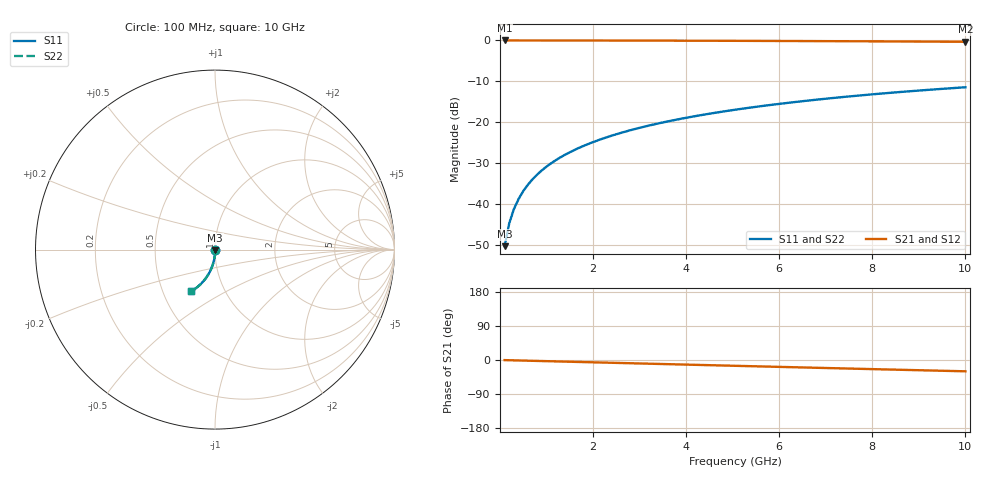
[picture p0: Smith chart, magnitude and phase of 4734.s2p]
# Hz S RI R 50.00
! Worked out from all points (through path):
!   100 points, 100 MHz to 10 GHz, reference 50 ohm
!   highest |S21| = -0.01 dB at 100 MHz (marker M1); lowest = -0.3 dB at 10 GHz (marker M2)
!   group delay of S21, straight-line fit = 8.3 ps
!   lowest |S11| = -50.3 dB at 100 MHz (marker M3), VSWR 1.01, Z = 50.1 - j0.287 ohm
!   |S11| at or under -10 dB: start of sweep to end of sweep
!   |S22| runs from -50.3 to -11.5 dB; largest |S21 - S12| = 0
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1e8  0.00102 -0.00286  0.9989 -0.00532  0.9989 -0.00532  0.00102 -0.00286
2e8  0.000978 -0.00572  0.9989 -0.0106  0.9989 -0.0106  0.000978 -0.00572
3e8  0.000903 -0.00859  0.9988 -0.0159  0.9988 -0.0159  0.000903 -0.00859
4e8  0.000797 -0.0114  0.9986 -0.0213  0.9986 -0.0213  0.000797 -0.0114
5e8  0.00066 -0.0143  0.9985 -0.0266  0.9985 -0.0266  0.00066 -0.0143
6e8  0.000492 -0.0172  0.9983 -0.0319  0.9983 -0.0319  0.000492 -0.0172
7e8  0.000294 -0.02  0.998 -0.0372  0.998 -0.0372  0.000294 -0.02
8e8  6.44e-05 -0.0229  0.9977 -0.0425  0.9977 -0.0425  6.44e-05 -0.0229
9e8  -0.000195 -0.0257  0.9974 -0.0478  0.9974 -0.0478  -0.000195 -0.0257
1.1e9  -0.000805 -0.0314  0.9967 -0.0584  0.9967 -0.0584  -0.000805 -0.0314
1.4e9  -0.00195 -0.0399  0.9953 -0.0743  0.9953 -0.0743  -0.00195 -0.0399
1.8e9  -0.00389 -0.0512  0.9929 -0.0954  0.9929 -0.0954  -0.00389 -0.0512
2.1e9  -0.00566 -0.0596  0.9908 -0.1111  0.9908 -0.1111  -0.00566 -0.0596
2.5e9  -0.00843 -0.0706  0.9875 -0.132  0.9875 -0.132  -0.00843 -0.0706
2.9e9  -0.0117 -0.0816  0.9836 -0.1528  0.9836 -0.1528  -0.0117 -0.0816
3.4e9  -0.0163 -0.095  0.9779 -0.1785  0.9779 -0.1785  -0.0163 -0.095
4.2e9  -0.0252 -0.1159  0.9671 -0.219  0.9671 -0.219  -0.0252 -0.1159
5.1e9  -0.0373 -0.1382  0.9525 -0.2636  0.9525 -0.2636  -0.0373 -0.1382
5.9e9  -0.0496 -0.157  0.9375 -0.302  0.9375 -0.302  -0.0496 -0.157
6.7e9  -0.0634 -0.1746  0.9206 -0.3393  0.9206 -0.3393  -0.0634 -0.1746
8.4e9  -0.0967 -0.2074  0.8792 -0.4142  0.8792 -0.4142  -0.0967 -0.2074
1e10  -0.1322 -0.2322  0.8344 -0.4786  0.8344 -0.4786  -0.1322 -0.2322
